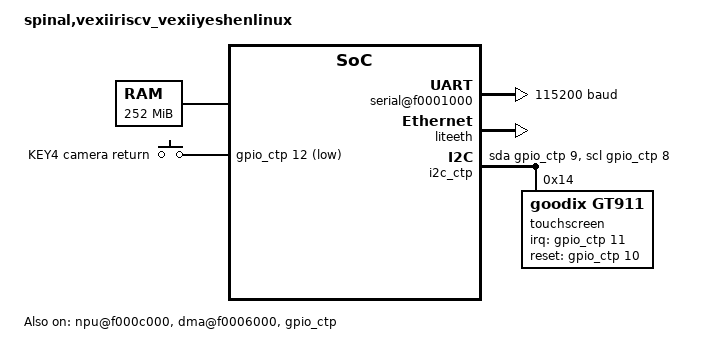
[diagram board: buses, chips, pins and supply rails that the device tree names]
/dts-v1/;
##include <dt-bindings/gpio/gpio.h>
##include <dt-bindings/input/input.h>
##include <dt-bindings/interrupt-controller/irq.h>

/*
 * NaxYeshenLinux / NaxMiniSoC 设备树（模板：由 naxmini_setup.sh 经 cpp 预处理生成 linux.dts）
 *
 * 与上游 `boards/naxriscv_sim/linux/linux_raw.dts` 的差异（= 主 spec §5.4 的五处改动）：
 *   1) model / compatible 换成本板名（日志辨认）；
 *   2) memory@80400000 的 reg = 0x80400000 + 0x0FC00000（内核可用窗口，与装载链一致）；
 *      ★ Task 22 修：节点名原来写成 `memory@80000000`，与本节点自己的 reg 首格
 *        `0x80400000` 不一致（dtc 会告警）。Linux 只读 reg 不读节点名 ⇒ 纯外观修正。
 *   3) chosen：bootargs 指向 ttyS0（16550）+ initrd 起止；stdout-path 指向我们的 16550；
 *   4) 新增 serial@f0001000（ns16550a，reg-shift=2，clock-frequency=100MHz，115200）；
 *   5) timebase-frequency = 100000000（= soc_clk）。
 *   ★ 6)（Y1-C2.2c，2026-10-08）新增 npu@f000c000（Y1 自研 YuNet CNN 加速器的 16 KiB 寄存器窗，
 *      PLIC 源 3）；并把 plic 的 `riscv,ndev` 2→3 跟上 `PlicAlite.NDEV`。
 *   ★ 7)（Y1-DMA Phase-2b，2026-10-13）新增 dma@f0006000（Y1 通用 DMA 引擎的 **256 B** CSR 窗，
 *      PLIC 源 4）；并把 plic 的 `riscv,ndev` 3→4 跟上 `PlicAlite.NDEV` 3→4。
 *   ★ 8)（2026-10-30 CTP 搬进主线）新增 gpio@f0002000（`yeshen,ctp-gpio`，13 线，驱动见
 *      patches/linux/0003-*）+ i2c-ctp（`i2c-gpio` 位操作）+ touchscreen@14（`goodix,gt911`，
 *      PLIC **源 5**）；并把 plic 的 `riscv,ndev` 4→5 跟上 `PlicAlite.NDEV` 4→5。
 *      GPIO 位映射（与 board/yeshen_mini_board_top.v 逐位一致）：
 *        bit8 SCL（**推挽**，面板侧无上拉）/ bit9 SDA（真开漏）/ bit10 RST / bit11 INT 回读 / bit12 KEY3
 *
 * 地址口径（与 scripts/check_addr_map.py 的台账一致，见 docs/探针记录.md「交付配置」节）：
 *   DDR 窗口    0x8000_0000；OpenSBI(fw_jump) 0x8000_0000；
 *   ★ Y1-C4b H2b（2026-10-12）：Image 0x8200_0000；FDT 0x82F8_0000；initrd 0x8300_0000
 *     —— 三者**全部抬到 NPU arena 保留区 [0x8040_0000, 0x8200_0000) 之上**，
 *        否则 no-map 的 memblock_remove 会把内核自己的 Image 从页表里抹掉（H2 的已知阻塞）；
 *   控制台 0xF000_1000（ns16550a）；
 *   NPU 寄存器窗 0xF000_C000（16 KiB）；DMA 寄存器窗 0xF000_6000（256 B）；
 *   CLINT 0xF001_0000 / PLIC 0xF0C0_0000 由胶合块 YeshenSocGlue 自持
 *   （ClintAlite / PlicAlite）——VexiiRiscv 核本身不含这两个外设。
 *   memory@ 仍是 0x8040_0000 + 0x0FC0_0000（内核声明的 DRAM 窗，未动）；
 *   扣掉 H2 的 arena 保留区后内核实际可用 RAM = 0x8200_0000..0x8FFF_FFFF（224 MiB）。
 */

/ {
    ##address-cells = <0x1>;
    ##size-cells = <0x1>;
    compatible = "spinal,vexiiriscv";
    model = "spinal,vexiiriscv_vexiiyeshenlinux";

    chosen {
        bootargs = "rootwait console=ttyS0,115200 earlycon=sbi root=/dev/ram0 init=/init";
        stdout-path = "/serial@f0001000";
        /* ★ Y1-C4b H2b：initrd 抬到 arena 保留区之上（原来 0x8100_0000..0x8180_0000
           落在 kernel Image 旧落点旁边），与 SdLoader 装载表 / tb INITRD 逐字一致。 */
        linux,initrd-start = <0x83000000>;
        linux,initrd-end   = <0x83800000>;
    };

    cpus {
        ##address-cells = <0x1>;
        ##size-cells = <0x0>;
        timebase-frequency = <100000000>;
        cpu@0 {
            device_type = "cpu";
            compatible = "riscv";
            riscv,isa = ISA_STR;
            mmu-type = MMU_TYPE;
            reg = <0>;
            status = "okay";
            L0: interrupt-controller {
                ##interrupt-cells = <0x00000001>;
                interrupt-controller;
                compatible = "riscv,cpu-intc";
            };
        };
    };

    memory@80400000 {
        device_type = "memory";
        reg = <0x80400000 0x0FC00000>;
    };

    /* ★ 2026-10-12（Y1-C4b 任务 H2）：把 NPU 的**整帧 arena** 从内核可用 RAM 里切走。
       依据（y1/reports/c4b_wgtdma.md / B5 的宿主整帧驱动 npu_frame_run.py --dry 实测）：
         · 转换器产出的张量 arena（冻结地址向量）= NPU [0x0020_0000, 0x01C5_05C0)
           = 物理 [0x8020_0000, 0x81C5_05C0)，约 29.7 MB（desc_table 的 bump 分配）；
         · NPU 是 **28bit** 地址（NPU A 对应物理 0x8000_0000+A）=> 只能到 0x8FFF_FFFF；
         · 而上游声明给内核的 RAM 是 0x8040_0000..0x8FFF_FFFF =>
           arena 的大半（0x8040_0000..0x81C5_05C0）落在**内核 RAM**里，会被内核当可用内存
           分配/覆写（`--reloc` 也躲不开：NPU 可达且非内核的窗口只有低位 4 MB）。
       处置：在 reserved-memory 里把 [0x8040_0000, 0x8200_0000)（0x01C0_0000 = 28 MiB，
       把 arena 末端 0x81C5_05C0 上取整到 0x8200_0000 这个干净边界）标成 **no-map** 保留区。
         · 为什么用 reserved-memory 而不是把 memory@80400000 的**基址**往上挪：
           这样 memory@ 的 reg、OpenSBI 的复位 PC/装载链（fw_jump@0x8000_0000）与
           内核的 PAGE_OFFSET(0xC0000000)/NONPORTABLE 假设都保持原文不变，改动最小。
         · 为什么 no-map：NPU 用自己的 AXI 主口**直接**写 DDR，CPU 从不需要这段的线性映射；
           no-map 顺带保证内核不对这段做投机访问（本源码里 nomap 走 memblock_remove）。
         · 为什么只从 0x8040_0000 起切：0x8000_0000..0x803F_FFFF 本来就不在 memory@ 的
           reg 里（没声明 => 内核从不碰），无需再切。
       ★ 2026-10-12（Y1-C4b 任务 H2b）：本保留区**生效的前提**是把内核 Image/FDT/initrd
         抬到 0x8200_0000 之上（H2 已点明：原 Image@0x8040_0000 正落在被切走的窗内，
         no-map 的 memblock_remove 会把内核自己的 Image 从 setup_vm_final 的页表里抹掉）。
         配套改动（同一笔提交）：OpenSBI FW_JUMP_ADDR=0x8200_0000 / FW_JUMP_FDT_ADDR=0x82F8_0000、
         本文件 chosen 的 linux,initrd-start/end = 0x8300_0000/0x8380_0000、SdLoader 装载表
         （scripts/build_all.sh 的 mk_sd_image --entry）、tb SOC_PROG 名字表、check_addr_map.py 台账。
       ⚠️ 往本文件加注释的硬约束（工程记忆 buildroot 三坑之坑 2）：注释里**不得出现嵌套的
          多行注释定界符**（内层结束符会把注释提前截断，dtc 直接语法错）；本文件一律用
          双井号写井号（cpp 之后还原成单井号），注释内容会在预处理时被整段剥掉。 */
    reserved-memory {
        ##address-cells = <0x1>;
        ##size-cells = <0x1>;
        ranges;

        /* NPU 帧 arena：物理 [0x8040_0000, 0x8200_0000) = NPU [0x0040_0000, 0x0200_0000)。
           （arena 里低于 0x8040_0000 的那 2 MB —— 物理 0x8020_0000..0x803F_FFFF —— 本就在
             RAM 节点之外，故保留区从 RAM 的首字节 0x8040_0000 起。） */
        npu_arena: npu_arena@80400000 {
            reg = <0x80400000 0x01C00000>;
            no-map;
        };
    };

    serial@f0001000 {
        compatible = "ns16550a";
        reg = <0xf0001000 0x20>;
        reg-shift = <0x2>;
        clock-frequency = <100000000>;
        /* ★ 2026-10-07 定案：回到 **115200**（28800 那轮判别实验已作废，结论见下）。
           28800 实验的判决：把控制台降到 28800 后**打字仍不通** ⇒ "RX 采样余量不够"这条 (a) 被否；
           真根因有两条（都已修，见 `etc/inittab` 与 `src/peripheral/UART.scala`）：
             ① **tty 波特率被 getty 改掉**：内核 `tty_std_termios` 默认 `B9600`，而
                buildroot 默认 inittab 写的是 `getty -L console 0`；busybox getty 里
                "note: arg 0 turns into speed B0" 且 "if (speed != B0) cfsetspeed(...)"
                ⇒ speed=0 **跳过 cfsetspeed**，`tcsetattr` 把 termios 里那份 B9600 写回硬件
                ⇒ **端口被改成 9600**（实测：28800 读是垃圾、9600 读全是干净 ASCII）。
                ⇒ 修法：本工程自带 `rootfs_overlay/etc/inittab`，把 getty 钉成
                `ttyS0::respawn:/sbin/getty -L ttyS0 115200 vt100`（非 0 ⇒ cfsetspeed 生效）。
             ② **`UARTRx` 丢背靠背字节**：起始位采样后只隔 3 个 baudTick 就采数据位（应 4），
                且 8N1 也恒走 `sParity` 槽 ⇒ 停止位采样点晚 3/4 位、落进下一字节的起始位 ⇒ 判帧错 ⇒ 整字节丢。
                实测签名：单字符回显 10/10，连发 10/30 个 0/10。修法与单元装置见 `sim/uartrx/`。
           ⇒ 两边**必须同档**：内核 console（cmdline）+ 本节点 `current-speed` + getty 参数。
              全链统一 115200（这档 OpenSBI/earlycon 也验证过是干净的）。 */
        current-speed = <115200>;
        /* ★ 2026-10-07（本工程**重新打开中断**；目标：让控制台能当命令行用）
           旧注（2026-10-02）说：补上 interrupts 后 8250 改用 THRE 中断抽发送队列，而那条 THRE
           中断"没有把队列抽干" ⇒ 用户态 tty 完全静默，所以当时退回 irq=0。现在重新打开，依据：
             · 那次尝试在 **10-02**，而他们为 LiteEth 修的"**PLIC 双 context**"那个坑是 **10-06** 才修的
               ⇒ 当时中断投递本身就是坏的，"THRE 没抽干队列"很可能根本不是 UART 的问题，而是
               **中断没送到核**。本工程的 `PlicAlite` 是另写的实现，控制台 IRQ 已接 **PLIC 源 1**。
             · RTL 侧其实已具备：`Uart16550.scala` 有 `rxPending = IER.bit0 && LSR.DR` 与
               `threPending = IER.bit1 && 发送FIFO空`，IIR 按 16550 优先级（收到数据 0x04 > THR 空 0x02）、
               pending 时 IIR[0]=0，16 深发送 FIFO 也在。
             · irq=0 是硬伤：8250 只能靠备份定时器轮询（~10ms 级），而 115200 一字符 87us ⇒ **RX 必丢**
               （实测：发 5 字节只到 1 个乱码字节）⇒ 交互式登录不可用。
           判据（可翻红）：login 提示符下送 **200 字节已知串**，要求 tty **回显逐字节一致**，再登入跑命令。
           负控 = 上面那版 irq=0 的镜像（已实测：5 字节只回 1 个乱码字节）。
           回退：若 tty 又静默 ⇒ 按"先加观测再盲调"，在胶合块里给 PLIC 源 1 的 claim/complete 与
           UART `irqPending` 各加 sticky 计数，一次烧分清"UART 没拉线"还是"PLIC 没送到"。 */
        interrupt-parent = <&plic>;
        interrupts = <1>;
        status = "okay";
    };

    /* ★ 2026-10-02 新增：PLIC。之前 DT 里没有它 ⇒ serial 无从引用 ⇒ 无中断。 */
    plic: interrupt-controller@f0c00000 {
        compatible = "sifive,plic-1.0.0", "sifive,fu540-c000-plic", "riscv,plic0";
        reg = <0xf0c00000 0x4000000>;
        interrupt-controller;
        /* ⚠️ 必须是 `##`（cpp 前导 `#` 的转义写法，同本文件其余处）：写成单个 `#`
           会被 cpp 当成非法预处理指令而**静默丢掉** ⇒ DTB 里没有 `#interrupt-cells`
           ⇒ `of_irq.c:113` 找不到 cell 数、`of_irq_parse_raw` 失败 ⇒ 8250 拿到 `irq = 0`。
           （2026-10-02 实测：反编译 DTB 确认该节点缺这两条属性。） */
        ##address-cells = <0x0>;
        ##interrupt-cells = <0x1>;
        /* ★ 2026-10-06（LiteEth 落地时抓出）：这里必须写**两个** context，且顺序 = (M-ext, S-ext)。
           依据：
             · 硬件侧 `rtl/NaxSocMini.v:4371/4373`
                 `naxes_0_mei_thread_gateways_0_flag = plic.io_targets[0]`   → context 0 = **M 模式**
                 `naxes_0_sei_thread_gateways_0_flag = plic.io_targets[1]`   → context 1 = **S 模式**
             · 驱动侧 `drivers/irqchip/irq-sifive-plic.c:314-330`：
                 `of_irq_parse_one(node, i, &parent)` 用**下标 i** 当 PLIC context 号；
                 `if (parent.args[0] != RV_IRQ_EXT) continue;` —— `RV_IRQ_EXT = 9`（S 模式外部中断），
                 **M-ext（11）那条会被跳过**，且跳过的 context 不推进下标。
            ⇒ 只写 `<&L0 11>` 时：Linux 找不到任何可用 context ⇒ `plic_handlers[cpu].present=0`
              ⇒ 任何 `enable_irq()` 都走 `WARN_ON_ONCE(cpu >= nr_cpu_ids)` + 往**未初始化的
              enable_base** 写 ⇒ `store access fault` ⇒ `Kernel panic - not syncing: Fatal exception in interrupt`
              （2026-10-06 实测：`ip link set eth0 up` 触发，badaddr=0xffff_ffd0_0400_7000）。
            ⇒ 写 `<&L0 11 &L0 9>`：下标 0 = M-ext（被跳过、不影响），下标 1 = S-ext
              ⇒ Linux 正好用上硬件 context 1 = S 模式那套 enable/priority 寄存器。
              而且 SEI 是**硬件线**直连核（`naxes_0_sei_...`），不需要 M 模式转发。 */
        interrupts-extended = <&L0 11 &L0 9>;
        /* YeshenSocGlue 的 PlicAlite：NDEV = 4（源 1 = 控制台 16550、源 2 = LiteEth、源 3 = NPU、
           源 4 = DMA）。
           ⚠️ 必须与硬件一致：写大了 Linux 会去读写不存在的 enable 位。
           ★ 2026-10-08（Y1-C2.2c）：原来是 2 —— NPU 并入后 `PlicAlite.NDEV` 已 2→3，这里改成 3。
           ★ 2026-10-13（Y1-DMA Phase-2b）：DMA 并入后 `PlicAlite.NDEV` 3→4（源 4），这里改成 4，
             并由 `scripts/check_addr_map.py` 与 RTL 的 `val NDEV` 对账。 */
        riscv,ndev = <5>;
    };

    /* ★ 2026-10-06（LiteEth 落地）：nax/LiteX 生态网卡。
       RTL 侧见 `board/liteeth_wrap.v` + `third_party/liteeth_mac/liteeth_mac_top.v`；
       驱动是主线 `drivers/net/ethernet/litex/litex_liteeth.c`（补丁在
       `sw/buildroot-external/patches/linux/0002-net-ethernet-add-LiteX-LiteEth-driver.patch`）。
       依据官方 binding `Documentation/devicetree/bindings/net/litex,liteeth.yaml`：
         · reg / reg-names 必须是 "mac" / "mdio" / "buffer" 三段（顺序也按这个）；段大小与
           `board/liteeth_wrap.v` 的 localparam、`src/NaxMiniGlue.scala` 的 ETH_* 掩码**逐字一致**；
         · `interrupts` 是**必需项** ⇒ 取 PLIC **源 2**（= `externalInterrupts` 位 2，
           见 `NaxMiniMap.ETH_IRQ_BIT` 与 `board/nax_mini_soc.v` 的 `ext_int`）。
       ⚠️ 「buffer」窗口内部布局由 `liteeth_wrap` 定：前 2×0x800 = rx 槽、后 2×0x800 = tx 槽
          （驱动自己按 `litex,rx-slots`/`slot-size` 算 `tx_base = buf_base + rx_slots*slot_size`）。 */
    liteeth: ethernet@f0003000 {
        compatible = "litex,liteeth";
        reg = <0xf0003000 0x100>,      // mac    （17 个 32bit CSR：字节偏移>>2 = 寄存器号）
              <0xf0004000 0x100>,      // mdio   （本版驱动不映射；窗口占位）
              <0xf0008000 0x3000>;     // buffer （4 rx + 2 tx × 2048 = 12 KB）
        // ⚠️ buffer 基址**必须按窗口大小对齐**（RTL/胶合层只用一个掩码译码它）：
        //    2026-10-07 rx 槽 2→4 后窗口 = 0x3000 ⇒ 掩码改成 `0xFFFF_C000`（0x4000 对齐）。
        //    ⚠️ 改这里必须**同时**改 `src/YeshenSocGlue.scala` 的 `ETH_BUF_MASK`
        //       （要重生成胶合网表）与 `board/liteeth_wrap.v` 的 `tgt_buf`/rx-tx 分界。
        //    写成 0xF000_5000 会让后 4 KB（tx 槽）落进 DECERR ⇒ `store access fault` ⇒ panic。
        reg-names = "mac", "mdio", "buffer";
        interrupt-parent = <&plic>;
        interrupts = <2>;
        litex,rx-slots  = <4>;   // ★ 2026-10-07：2→4（背靠背突发丢包；实测收到的帧数≈槽数）
        litex,tx-slots  = <2>;
        litex,slot-size = <0x800>;
        /* 固定 MAC（不用随机）：便于板上抓包/`ip neigh` 对照。
           首字节 0x02 = 本地管理位置 1、单播 ⇒ 不会和真实厂商 OUI 撞。 */
        local-mac-address = [02 00 00 00 00 01];
        status = "okay";
    };

    /* ★ 2026-10-08（Y1-C2.2c）：Y1 自研小型 YuNet CNN 加速器（NPU）。
       RTL 侧 = `board/yeshen_mini_soc.v` 例化的 `y1/gen/NpuTop.v`（主机编程块 `axilite_*` 从口）；
       寄存器窗由 `src/YeshenSocGlue.scala` 解码（`YeshenMap.NPU_BASE` = 0xF000_C000，
       掩码 `0xFFFF_C000` ⇒ 16 KiB）⇒ `reg` 的两格必须与那个窗口逐字对齐（根节点是
       `#address-cells = <1>; #size-cells = <1>`，与 serial@ / ethernet@ 同姿）。
       ⚠️ 本版**没有** Linux 驱动（用户态直接 mmap /dev/mem 编程，见 y1/ 的判据程序）：
          写这个节点的目的是让 `reg` 与 `interrupts` 落到 DTB 里、由
          `scripts/check_addr_map.py` 与胶合/RTL 对账 —— 正是"地址漂移最怕静默通过"的那类。
       ⚠️ `interrupts = <3>` 必须 = 胶合 `NPU_IRQ_BIT`（板级把 `NpuTop.irq` 接进 `glue.io.npuIrq`，
          由胶合内 PLIC 当**源 3**；源 1=控制台、源 2=LiteEth）；`riscv,ndev` 也必须随之 = 3。
          中断是**保持电平**（done/err 抬起，主机写 CTRL.soft_reset 清源）。 */
    npu@f000c000 {
        compatible = "y1,yunet-npu";
        reg = <0xf000c000 0x4000>;     // 16 KiB = 胶合 `NPU_MASK 0xFFFF_C000` 的窗
        interrupt-parent = <&plic>;
        interrupts = <3>;
        status = "okay";
    };

    /* ★ 2026-10-13（Y1-DMA Phase-2b）：Y1 通用 DMA 引擎（多通道，DDR↔外设块搬运）。
       RTL 侧 = `board/yeshen_mini_soc.v` 例化的 `y1/gen/DmaEngine.v`（AXI-Lite CSR 从口）；
       寄存器窗由 `src/YeshenSocGlue.scala` 解码（`YeshenMap.DMA_BASE` = 0xF000_6000，
       掩码 `0xFFFF_FF00` ⇒ **256 B**）⇒ `reg` 两格必须与那个窗口逐字对齐
       （根节点 `#address-cells = <1>; #size-cells = <1>`，与 npu@ / serial@ 同姿）。
       ⚠️ 本版**没有** Linux 驱动（用户态直接 mmap /dev/mem 编程）：写这个节点的目的是让
          `reg` 与 `interrupts` 落到 DTB 里、由 `scripts/check_addr_map.py` 与胶合/RTL 对账。
       ⚠️ `interrupts = <4>` 必须 = 胶合 `DMA_IRQ_BIT`（板级把 `DmaEngine.irq` 接进
          `glue.io.dmaIrq`，由胶合内 PLIC 当**源 4**；源 1=控制台、源 2=LiteEth、源 3=NPU）；
          `riscv,ndev` 也必须随之 = 4。中断是**保持电平**（GBL_DONE/GBL_ERR，主机写该通道
          `CH_STATUS` 的 w1c 清源）。 */
    dma@f0006000 {
        compatible = "y1,dma-engine";
        reg = <0xf0006000 0x100>;      // 256 B = 胶合 `DMA_MASK 0xFFFF_FF00` 的窗
        interrupt-parent = <&plic>;
        interrupts = <4>;
        status = "okay";
    };

    /* ★ 2026-10-29：软件复位（`reboot` / `poweroff` 的硬件落点）。
       RTL 链条：写 VIDEO 窗偏移 0x098 的 bit0（`video_regs` 的 RST_CTRL）
         -> `rst_ctrl`（clk_in 27 MHz 域）在 2FF 后把请求兑现成 **20 ms** 的低有效复位
         -> 与板级复位链相与（`soc_resetn = rst_sync2 & sys_rstn`）-> 整片 SoC 复位。
       ⚠️ 复位**含** DDR3 IP（连带 PHY 重新校准）与胶合块的 SD 装载器，**不含**两颗板级 PLL
          ⇒ 语义上等同冷启动，走同一条装载路径（SD 读表 -> 装内核 -> 放 CPU），
          整次重启约 8 s（0.4 s DDR 复位脉冲 + 校准，1 s BootSel 窗口，SD 装载）。
          DDR 必须一起复位：reboot 那一刻视频通路几乎必有一笔 DDR 读在飞，只清 SoC 会
          让那笔 R 数据无人取、R 通道堵死（详见 `board/rst_ctrl.v` 头注释）。
       ⚠️ `offset` 必须与 `board/cam/video_regs.v` 的 `A_RSTCTRL` 逐字一致
          （`scripts/check_addr_map.py` 有对账）；`reg` 的基址/大小与胶合的
          `VIDEO_BASE 0xF000_7400` / 掩码 `0xFFFF_FC00`（1 KiB）同源。
       ⚠️ 本节点要求内核开 `CONFIG_MFD_SYSCON`（提供 "syscon" 兼容串）与
          `CONFIG_POWER_RESET_SYSCON`（提供 "syscon-reboot"）——见 linux_raw.config。 */
    videoregs: syscon@f0007400 {
        compatible = "syscon";
        reg = <0xf0007400 0x100>;
    };

    reboot {
        compatible = "syscon-reboot";
        regmap = <&videoregs>;
        offset = <0x98>;
        value = <0x1>;
    };

    /* ★ 2026-10-30：GT911 电容触摸（从 YeshenGuiTouch 搬进主线）。
       三层：glue 的 GPIO 控制器（0xF000_2000，13 线）-> i2c-gpio 位操作 ->
       主线 goodix 驱动。板级 bit 映射见 board/yeshen_mini_board_top.v。
       ⚠️ 本节点要求内核开：CONFIG_GPIO_YESHEN_CTP（patches/linux/0003-*）、
          CONFIG_I2C / CONFIG_I2C_GPIO / CONFIG_I2C_CHARDEV、
          CONFIG_TOUCHSCREEN_GOODIX / CONFIG_INPUT_EVDEV —— 见 linux_raw.config。 */
    gpio_ctp: gpio@f0002000 {
        compatible = "yeshen,ctp-gpio";
        reg = <0xf0002000 0x1000>;
        gpio-controller;
        ##gpio-cells = <0x2>;
        ngpios = <13>;
        status = "okay";
    };

    i2c_ctp: i2c-ctp {
        compatible = "i2c-gpio";
        /* i2c-gpio 的 SCL 走"推挽"：面板 J26 侧**没有 SCL 上拉**（YeshenGuiTouch 实测），
           纯开漏永远拉不起 ⇒ 靠 i2c-gpio,scl-open-drain 让驱动按普通输出处理；
           SDA 保持真开漏（高=切输入），好让 gpiochip 读面板 ACK。 */
        i2c-gpio,scl-open-drain;
        scl-gpios = <&gpio_ctp 8 GPIO_ACTIVE_HIGH>;
        sda-gpios = <&gpio_ctp 9 (GPIO_ACTIVE_HIGH | GPIO_OPEN_DRAIN)>;
        i2c-gpio,delay-us = <20>;
        ##address-cells = <0x1>;
        ##size-cells = <0x0>;
        status = "okay";

        touchscreen@14 {
            compatible = "goodix,gt911";
            reg = <0x14>;
            interrupt-parent = <&plic>;
            interrupts = <5>;
            /* 面板把 INT strap 成高（FPGA 侧 INT 只作输入），器件因此应答 0x14。 */
            irq-gpios = <&gpio_ctp 11 GPIO_ACTIVE_HIGH>;
            /* 驱动写物理 0 = 复位、1 = 释放；RSTN 线上低有效 ⇒ 这里仍要 ACTIVE_HIGH。 */
            reset-gpios = <&gpio_ctp 10 GPIO_ACTIVE_HIGH>;
            touchscreen-size-x = <1024>;
            touchscreen-size-y = <600>;
            status = "okay";
        };
    };

    /* ★ 2026-10-30：KEY4（B20）→ GPIO 位 12 → KEY_F13。GUI 在相机模式下
       按此键返回桌面；轮询式（20 ms）不占用 PLIC 源，驱动不依赖中断。
       要求内核开 CONFIG_KEYBOARD_GPIO_POLLED（见 linux_raw.config）。 */
    gpio-keys {
        compatible = "gpio-keys-polled";
        poll-interval = <20>;
        key4 {
            label = "KEY4 camera return";
            gpios = <&gpio_ctp 12 GPIO_ACTIVE_LOW>;
            linux,code = <KEY_F13>;
        };
    };
};
